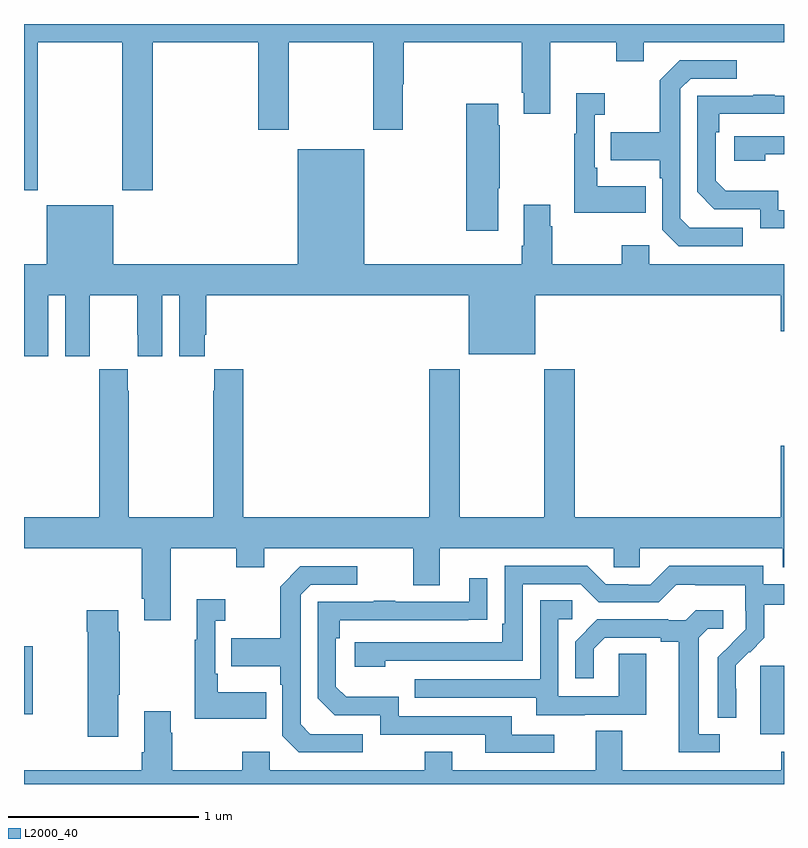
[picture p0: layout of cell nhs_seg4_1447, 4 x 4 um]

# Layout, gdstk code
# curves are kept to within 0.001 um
import gdstk
lib = gdstk.Library(unit=1e-6, precision=1e-09)
def R(c, l, rs):  # rectangles x0, y0, x1, y1
    for r in rs: c.add(gdstk.rectangle(r[:2], r[2:], *l))
def P(c, l, *ps):  # polygons
    for p in ps: c.add(gdstk.Polygon(p, *l))
L2000_40 = (2000, 40)

nhs_seg4_1447 = lib.new_cell('nhs_seg4_1447')
R(nhs_seg4_1447, L2000_40, [(188.876,809.162,189,809.523), (185,809.266,185.046,809.626)])
P(nhs_seg4_1447, L2000_40, [(185.073,812.804),(185.518,812.804),(185.518,812.025),(185.678,812.025),(185.678,812.804),(186.233,812.804),(186.233,812.343),(186.393,812.343),(186.393,812.804),(186.838,812.804),(186.838,812.343),(186.993,812.343),(186.993,812.582),(186.998,812.582),(186.998,812.804),(187.619,812.804),(187.619,812.539),(187.631,812.539),(187.631,812.427),(187.771,812.427),(187.771,812.804),(188.116,812.804),(188.116,812.705),(188.263,812.705),(188.263,812.804),(189,812.804),(189,812.9),(185,812.9),(185,812.025),(185.073,812.025)],
  [(188.782,811.827),(188.505,811.827),(188.454,811.878),(188.454,812.559),(188.508,812.613),(188.752,812.613),(188.752,812.709),(188.451,812.709),(188.346,812.603),(188.346,812.331),(188.089,812.331),(188.089,812.183),(188.346,812.183),(188.346,812.087),(188.358,812.087),(188.358,811.818),(188.445,811.731),(188.782,811.731)],
  [(188.273,812.047),(188.017,812.047),(188.017,812.143),(188.004,812.143),(188.004,812.423),(188.056,812.423),(188.056,812.536),(187.907,812.536),(187.907,812.323),(187.896,812.323),(187.896,811.907),(188.273,811.907)],
  [(189,811.92),(188.97,811.92),(188.97,812.023),(188.693,812.023),(188.64,812.076),(188.64,812.33),(188.66,812.33),(188.66,812.427),(189,812.427),(189,812.523),(188.951,812.523),(188.951,812.528),(188.839,812.528),(188.839,812.523),(188.544,812.523),(188.544,812.016),(188.634,811.926),(188.874,811.926),(188.874,811.824),(189,811.824)],
  [(187.495,812.035),(187.503,812.035),(187.503,812.366),(187.495,812.366),(187.495,812.479),(187.328,812.479),(187.328,811.812),(187.495,811.812)],
  [(188.9,812.214),(189,812.214),(189,812.31),(188.739,812.31),(188.739,812.18),(188.9,812.18)],
  [(185.128,811.472),(185.216,811.472),(185.216,811.152),(185.346,811.152),(185.346,811.264),(185.347,811.264),(185.347,811.472),(185.597,811.472),(185.597,811.264),(185.598,811.264),(185.598,811.152),(185.728,811.152),(185.728,811.472),(185.816,811.472),(185.816,811.152),(185.95,811.152),(185.95,811.264),(185.96,811.264),(185.96,811.472),(187.34,811.472),(187.34,811.163),(187.69,811.163),(187.69,811.472),(188.984,811.472),(188.984,811.284),(189,811.284),(189,811.636),(188.292,811.636),(188.292,811.735),(188.146,811.735),(188.146,811.636),(187.779,811.636),(187.779,811.835),(187.771,811.835),(187.771,811.948),(187.631,811.948),(187.631,811.732),(187.619,811.732),(187.619,811.636),(186.79,811.636),(186.79,812.242),(186.44,812.242),(186.44,811.636),(185.47,811.636),(185.47,811.945),(185.12,811.945),(185.12,811.636),(185,811.636),(185,811.152),(185.128,811.152)],
  [(185.773,810.14),(186.118,810.14),(186.118,810.041),(186.265,810.041),(186.265,810.14),(187.049,810.14),(187.049,809.946),(187.189,809.946),(187.189,810.14),(188.103,810.14),(188.103,810.042),(188.241,810.042),(188.241,810.14),(188.993,810.14),(188.993,810.041),(189,810.041),(189,810.679),(188.984,810.679),(188.984,810.304),(187.898,810.304),(187.898,811.084),(187.738,811.084),(187.738,810.304),(187.293,810.304),(187.293,811.084),(187.133,811.084),(187.133,810.304),(186.155,810.304),(186.155,811.084),(186.001,811.084),(186.001,810.971),(185.995,810.971),(185.995,810.304),(185.55,810.304),(185.55,810.971),(185.547,810.971),(185.547,811.084),(185.397,811.084),(185.397,810.971),(185.395,810.971),(185.395,810.304),(185,810.304),(185,810.14),(185.621,810.14),(185.621,809.875),(185.633,809.875),(185.633,809.763),(185.773,809.763)],
  [(188.748,809.402),(188.747,809.525),(188.817,809.595),(188.82,809.592),(188.897,809.669),(188.897,809.844),(189,809.844),(189,809.952),(188.892,809.952),(188.892,810.049),(188.395,810.049),(188.295,809.949),(188.18,809.949),(188.18,809.952),(188.061,809.952),(187.965,810.048),(187.53,810.048),(187.53,809.743),(187.517,809.743),(187.517,809.646),(186.741,809.646),(186.741,809.516),(186.902,809.516),(186.902,809.55),(187.626,809.55),(187.626,809.952),(187.929,809.952),(188.025,809.856),(188.34,809.856),(188.433,809.949),(188.533,809.949),(188.533,809.945),(188.796,809.945),(188.796,809.811),(188.798,809.811),(188.798,809.714),(188.652,809.566),(188.652,809.248),(188.748,809.248)],
  [(186.784,809.163),(186.507,809.163),(186.456,809.214),(186.456,809.895),(186.51,809.949),(186.754,809.949),(186.754,810.045),(186.453,810.045),(186.348,809.939),(186.348,809.667),(186.091,809.667),(186.091,809.519),(186.348,809.519),(186.348,809.423),(186.36,809.423),(186.36,809.154),(186.447,809.067),(186.784,809.067)],
  [(187.792,809.16),(187.567,809.16),(187.567,809.256),(186.972,809.256),(186.972,809.359),(186.695,809.359),(186.642,809.412),(186.642,809.666),(186.662,809.666),(186.662,809.763),(187.439,809.764),(187.439,809.983),(187.343,809.983),(187.343,809.859),(186.953,809.859),(186.953,809.864),(186.841,809.864),(186.841,809.859),(186.546,809.859),(186.546,809.352),(186.636,809.262),(186.876,809.262),(186.876,809.16),(187.427,809.16),(187.427,809.064),(187.792,809.064)],
  [(186.275,809.383),(186.019,809.383),(186.019,809.479),(186.006,809.479),(186.006,809.759),(186.058,809.759),(186.058,809.872),(185.909,809.872),(185.909,809.659),(185.898,809.659),(185.898,809.243),(186.275,809.243)],
  [(187.951,809.265),(188.275,809.265),(188.275,809.585),(188.13,809.585),(188.13,809.361),(187.812,809.361),(187.812,809.766),(187.885,809.766),(187.885,809.867),(187.716,809.867),(187.716,809.451),(187.057,809.451),(187.057,809.355),(187.697,809.355),(187.697,809.261),(187.951,809.261)],
  [(185.497,809.371),(185.505,809.371),(185.505,809.702),(185.497,809.702),(185.497,809.815),(185.33,809.815),(185.33,809.702),(185.335,809.702),(185.335,809.148),(185.497,809.148)],
  [(188.662,809.163),(188.551,809.163),(188.551,809.671),(188.598,809.718),(188.68,809.718),(188.68,809.815),(188.536,809.815),(188.484,809.763),(188.39,809.763),(188.39,809.766),(188.018,809.766),(187.902,809.65),(187.902,809.457),(187.999,809.457),(187.999,809.613),(188.056,809.67),(188.351,809.67),(188.351,809.648),(188.447,809.648),(188.447,809.067),(188.662,809.067)],
  [(189,809.071),(188.986,809.071),(188.986,808.972),(188.149,808.972),(188.149,809.18),(188.009,809.18),(188.009,808.972),(187.255,808.972),(187.255,809.071),(187.108,809.071),(187.108,808.972),(186.294,808.972),(186.294,809.071),(186.148,809.071),(186.148,808.972),(185.781,808.972),(185.781,809.171),(185.773,809.171),(185.773,809.284),(185.633,809.284),(185.633,809.068),(185.621,809.068),(185.621,808.972),(185,808.972),(185,808.9),(189,808.9)])

lib.write_gds('nhs_seg4_1447.gds')
